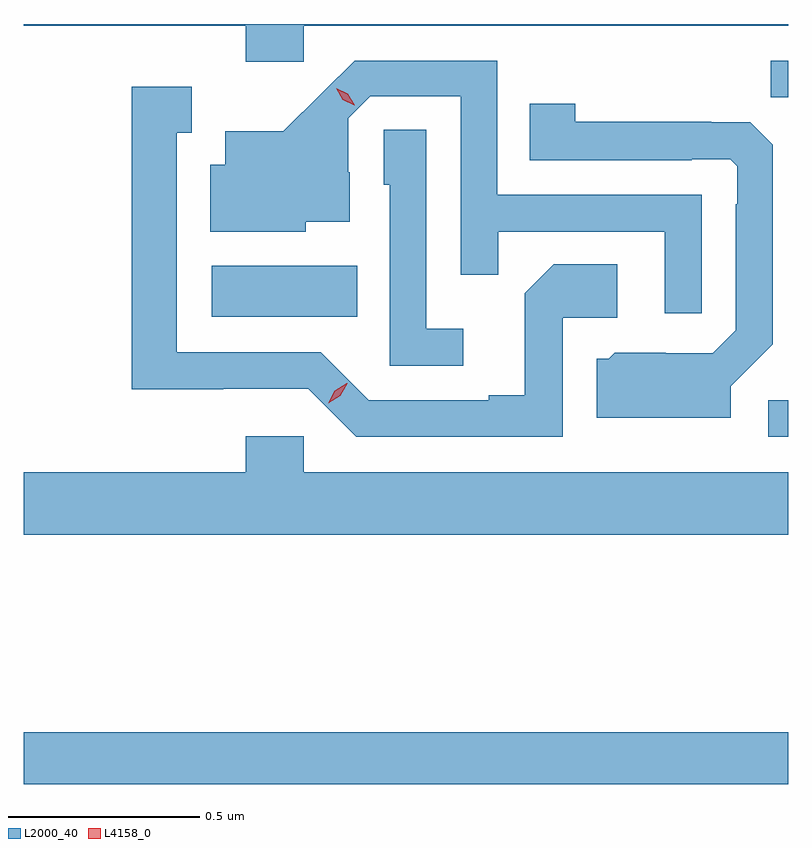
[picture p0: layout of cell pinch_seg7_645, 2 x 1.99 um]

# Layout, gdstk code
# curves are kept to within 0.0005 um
import gdstk
lib = gdstk.Library(unit=1e-6, precision=1e-09)
def R(c, l, rs):  # rectangles x0, y0, x1, y1
    for r in rs: c.add(gdstk.rectangle(r[:2], r[2:], *l))
def P(c, l, *ps):  # polygons
    for p in ps: c.add(gdstk.Polygon(p, *l))
L2000_40 = (2000, 40)
L4158_0 = (4158, 0)

pinch_seg7_645 = lib.new_cell('pinch_seg7_645')
R(pinch_seg7_645, L2000_40, [(145.098,1037.26,147.098,1037.396), (147.045,1038.168,147.098,1038.264), (145.59,1038.482,145.97,1038.616), (147.052,1039.057,147.098,1039.152)])
P(pinch_seg7_645, L2000_40, [(145.83,1039.244),(147.098,1039.244),(147.098,1039.248),(145.098,1039.248),(145.098,1039.244),(145.679,1039.244),(145.679,1039.149),(145.83,1039.149)],
  [(146.871,1038.801),(146.337,1038.801),(146.337,1039.152),(145.964,1039.152),(145.777,1038.967),(145.625,1038.967),(145.625,1038.88),(145.586,1038.88),(145.586,1038.704),(145.836,1038.704),(145.836,1038.731),(145.951,1038.731),(145.951,1038.86),(145.947,1038.86),(145.947,1039.002),(146.004,1039.059),(146.241,1039.059),(146.241,1038.592),(146.339,1038.592),(146.339,1038.705),(146.775,1038.705),(146.775,1038.492),(146.871,1038.492)],
  [(146.508,1038.48),(146.65,1038.48),(146.65,1038.62),(146.485,1038.62),(146.409,1038.544),(146.409,1038.277),(146.315,1038.277),(146.315,1038.264),(146.001,1038.264),(145.875,1038.39),(145.498,1038.39),(145.498,1038.963),(145.537,1038.963),(145.537,1039.084),(145.38,1039.084),(145.38,1038.293),(145.62,1038.293),(145.62,1038.294),(145.842,1038.294),(145.968,1038.168),(146.508,1038.168)],
  [(146.947,1038.3),(147.057,1038.41),(147.057,1038.932),(146.998,1038.991),(146.897,1038.991),(146.897,1038.992),(146.541,1038.992),(146.541,1039.039),(146.422,1039.039),(146.422,1038.891),(146.846,1038.891),(146.846,1038.894),(146.946,1038.894),(146.964,1038.876),(146.964,1038.776),(146.961,1038.776),(146.961,1038.447),(146.901,1038.387),(146.778,1038.387),(146.778,1038.388),(146.644,1038.388),(146.628,1038.372),(146.597,1038.372),(146.597,1038.218),(146.947,1038.218)],
  [(146.248,1038.451),(146.151,1038.451),(146.151,1038.971),(146.04,1038.971),(146.04,1038.828),(146.055,1038.828),(146.055,1038.354),(146.248,1038.354)],
  [(147.098,1038.076),(145.83,1038.076),(145.83,1038.169),(145.679,1038.169),(145.679,1038.076),(145.098,1038.076),(145.098,1037.912),(147.098,1037.912)])
P(pinch_seg7_645, L4158_0, [(145.963,1039.035),(145.933,1039.05),(145.916,1039.08),(145.916,1039.08),(145.916,1039.08),(145.946,1039.065),(145.964,1039.035),(145.964,1039.035)],
  [(145.894,1038.256),(145.894,1038.256),(145.912,1038.289),(145.943,1038.308),(145.944,1038.308),(145.944,1038.307),(145.926,1038.275),(145.895,1038.256)])

lib.write_gds('pinch_seg7_645.gds')
